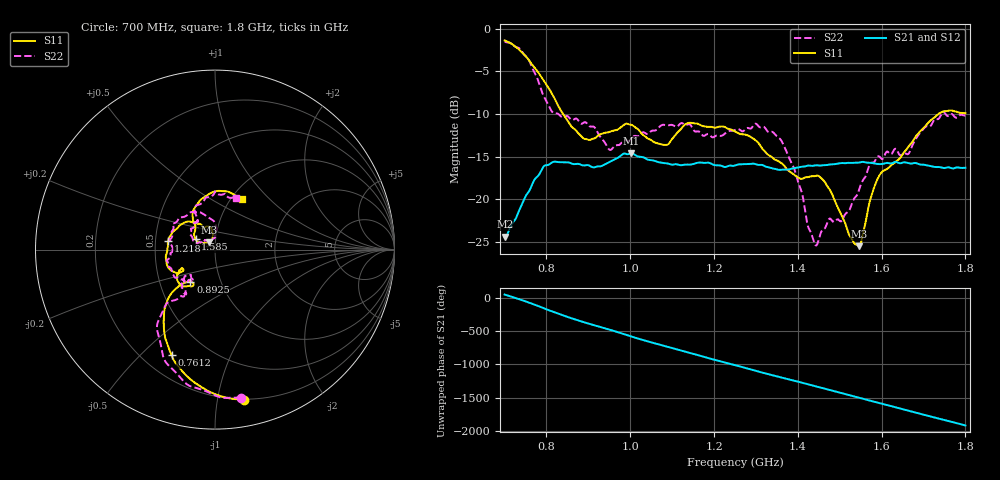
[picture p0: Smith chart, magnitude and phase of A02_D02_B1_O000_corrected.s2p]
! Created with skrf 1.9.0 (http://scikit-rf.org).
# Hz S RI R 50.0
!freq ReS11 ImS11 ReS21 ImS21 ReS12 ImS12 ReS22 ImS22
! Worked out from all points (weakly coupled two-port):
!   1601 points, 700 MHz to 1.8 GHz, reference 50 ohm
!   highest |S21| = -14.64 dB at 1.002 GHz (marker M1); lowest = -24.4 dB at 700.7 MHz (marker M2)
!   lowest |S11| = -25.5 dB at 1.546 GHz (marker M3), VSWR 1.11, Z = 46.5 + j3.76 ohm
!   |S11| at or under -10 dB: 839.3 MHz to 1.736 GHz (896.6 MHz wide, 69.6 % of centre)
!   |S22| runs from -25.4 to -1.5 dB; largest |S21 - S12| = 0.0035
!   S11 on the Smith chart (normalised r, x): 700 MHz: 0.20, -1.19; 761.2 MHz: 0.31, -0.62; 892.5 MHz: 0.72, -0.27; 1.218 GHz: 0.58, +0.06; 1.585 GHz: 0.80, +0.09; 1.8 GHz: 1.11, +0.70
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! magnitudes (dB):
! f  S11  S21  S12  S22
! 700 MHz  -1.4  -24.4  -24.2  -1.5
! 700.7 MHz  -1.4  -24.4  -24.1  -1.5
! 761.2 MHz  -3.9  -18.8  -18.7  -4.0
! 813.4 MHz  -7.7  -15.7  -15.7  -9.8
! 883.6 MHz  -12.6  -16.0  -15.9  -11.2
! 892.5 MHz  -13.0  -16.0  -16.1  -11.0
! 950.9 MHz  -12.1  -15.6  -15.6  -14.2
! 1.002 GHz  -11.3  -14.6  -14.7  -12.9
! 1.067 GHz  -13.5  -15.7  -15.6  -11.6
! 1.138 GHz  -11.1  -15.9  -15.9  -11.2
! 1.218 GHz  -11.5  -16.1  -16.1  -12.6
! 1.25 GHz  -12.1  -16.1  -16.0  -11.9
! 1.359 GHz  -15.7  -16.6  -16.5  -13.0
! 1.394 GHz  -17.2  -16.3  -16.3  -16.8
! 1.434 GHz  -17.3  -16.1  -16.1  -24.2
! 1.505 GHz  -22.0  -15.8  -15.8  -22.5
! 1.546 GHz  -25.5  -15.7  -15.7  -18.9
! 1.585 GHz  -18.3  -15.8  -15.8  -15.5
! 1.617 GHz  -16.3  -15.8  -15.7  -14.6
! 1.663 GHz  -13.9  -15.8  -15.8  -14.7
! 1.737 GHz  -10.0  -16.2  -16.3  -10.5
! 1.8 GHz  -9.9  -16.3  -16.3  -10.2
